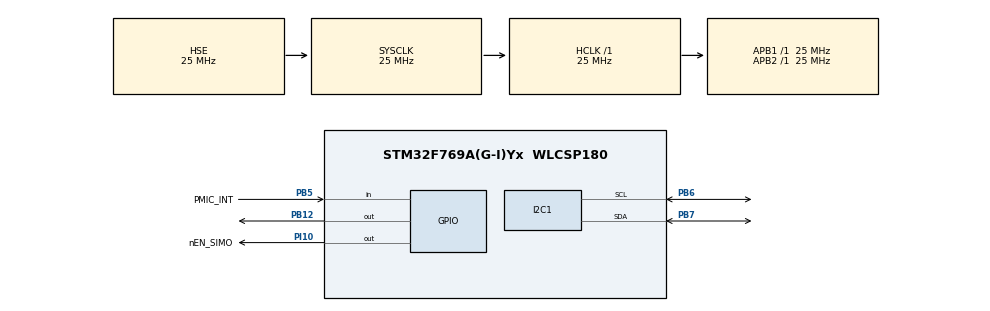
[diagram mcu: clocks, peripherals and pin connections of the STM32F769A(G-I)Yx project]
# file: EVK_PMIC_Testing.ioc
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I2C1.Timing=0x00606092
Mcu.Family=STM32F7
Mcu.Name=STM32F769A(G-I)Yx
Mcu.Package=WLCSP180
NVIC.PriorityGroup=NVIC_PRIORITYGROUP_4
NVIC.TIM8_TRG_COM_TIM14_IRQn=true\:0\:0\:false\:false\:true\:true\:true\:true
PB12.Signal=GPIO_Output
PB5.GPIO_Label=PMIC_INT
PB5.Signal=GPIO_Input
PB6.GPIO_Pu=GPIO_PULLUP
PB6.Mode=I2C
PB6.Signal=I2C1_SCL
PB7.GPIO_Pu=GPIO_PULLUP
PB7.Mode=I2C
PB7.Signal=I2C1_SDA
PH0/OSC_IN.Mode=HSE-External-Oscillator
PH0/OSC_IN.Signal=RCC_OSC_IN
PH1/OSC_OUT.Mode=HSE-External-Oscillator
PH1/OSC_OUT.Signal=RCC_OSC_OUT
PI10.GPIO_Label=nEN_SIMO
PI10.Signal=GPIO_Output
ProjectManager.HeapSize=0x200
ProjectManager.StackSize=0x400
ProjectManager.TargetToolchain=STM32CubeIDE
RCC.AHBFreq_Value=25000000
RCC.APB1Freq_Value=25000000
RCC.APB1TimFreq_Value=25000000
RCC.APB2Freq_Value=25000000
RCC.APB2TimFreq_Value=25000000
RCC.CortexFreq_Value=25000000
RCC.HCLKFreq_Value=25000000
RCC.HSE_VALUE=25000000
RCC.HSI_VALUE=16000000
RCC.LSE_VALUE=32768
RCC.PLLM=2
RCC.PLLSourceVirtual=RCC_PLLSOURCE_HSE
RCC.SYSCLKFreq_VALUE=25000000
RCC.SYSCLKSource=RCC_SYSCLKSOURCE_HSE
RCC.USBFreq_Value=1200000000
RCC.VCOOutputFreq_Value=2400000000
TIM14.AutoReloadPreload=TIM_AUTORELOAD_PRELOAD_ENABLE
TIM14.Period=100-1
TIM14.Prescaler=25000-1
VP_TIM14_VS_ClockSourceINT.Mode=Enable_Timer
board=custom

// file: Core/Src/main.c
/* USER CODE BEGIN Header */
/**
  ******************************************************************************
  * @file           : main.c
  * @brief          : Main program body
  ******************************************************************************
  * @attention
  *
  * Copyright (c) 2022 STMicroelectronics.
  * All rights reserved.
  *
  * This software is licensed under terms that can be found in the LICENSE file
  * in the root directory of this software component.
  * If no LICENSE file comes with this software, it is provided AS-IS.
  *
  ******************************************************************************
  */
/* USER CODE END Header */
#include "main.h"
#include "i2c.h"
#include "tim.h"
#include "gpio.h"

/* USER CODE BEGIN PM */
enum SIMO_Register_Addresses {
							 CID = 0x14, SBB1_A = 0x2B, SBB1_B = 0x2C,
						 	 SBB2_A = 0x2D, SBB2_B = 0x2E, SBB_TOP = 0x2F,
							 LDO0_A = 0x38, LDO0_B = 0x39, LDO1_A = 0x3A,
							 LDO1_B = 0x3B
							 };

enum Charger_Register_Addresses {
								CHG_B = 0x21, CHG_C = 0x22, CHG_D = 0x23,
								CHG_E = 0x24, CHG_G = 0x26, CHG_I = 0x28,
								CHG_STAT_B = 0x03
								};

enum Global_Register_Addresses {
								GLBL = 0x10,
							   };
enum Charger_Status_Values {
							CHG_OK = 0, CHG_DISCON = 1, CHG_ERR = 2, CHG_FULL = 3
						   };
/* USER CODE END PM */

/* USER CODE BEGIN PV */
uint8_t SlaveAddress = 0x48 << 1; //0x90
/* USER CODE END PV */

void SystemClock_Config(void);
/* USER CODE BEGIN PFP */
	uint8_t Check_Chip_ID(uint8_t *Buffer);
	uint8_t Local_I2C_Transmit(uint8_t *Buffer, uint8_t Bytes);
	uint8_t Local_I2C_Receive(uint8_t *Buffer, uint8_t Bytes);
	uint8_t I2C_Scanner(uint8_t *Buffer);
	uint8_t SIMO_SetSBB(uint8_t SBBx_A_Address, uint8_t *Buffer ,uint8_t voltage);
	uint8_t SIMO_PMIC_Init(uint8_t *Buffer);
	uint8_t PMIC_Write_Reg(uint8_t Reg_Address, uint8_t data, uint8_t *Buffer);
	uint8_t PMIC_Read_Reg(uint8_t Reg_Address, uint8_t *Buffer);
	void Charger_Init(uint8_t *Buffer);
	void Global_Config_Init(uint8_t *Buffer);
	uint8_t Check_Charger_Status(uint8_t *Buffer);
	void Suspend_Charger(uint8_t *Buffer);
/* USER CODE END PFP */

/* USER CODE BEGIN 0 */

	/*Charger_Init Function*/
	void Charger_Init(uint8_t *Buffer)
	{
		//setting charger VCHGIN-MIN = 4.7V, ICHGIN-LIM = 475mA, i_PQ = 20%, CHG_EN = enable
		PMIC_Write_Reg(CHG_B, 0xF3, Buffer);
		//setting CHG_PQ(V_PQ) = 2.3V, I_TERM = 10% of IFAST_CHG(300mA), topoff timer 0 min
		PMIC_Write_Reg(CHG_C, 0x10, Buffer);
		//setting die junction temp at 60degree celsius, system regulation voltage(VSYS-REG) = 4.5V
		PMIC_Write_Reg(CHG_D, 0x10, Buffer);
		//setting CHG_CC(I_FAST-CHG) = 300mA, fast charge safety timer is 5hours
		PMIC_Write_Reg(CHG_E, 0x9E, Buffer);
		//setting CHG_CV(V_FAST-CHG) = 4.25V, USBS = not suspended
		PMIC_Write_Reg(CHG_G, 0x68, Buffer);
		//setting battery discharge current full sacle current value = 8.2mA, AMUX = disabled
		PMIC_Write_Reg(CHG_I, 0x00, Buffer);
	}
	/*End*/

	/*Check_Charger_Status Function*
	 @retval 0 - Charger OK and charging
	 	 	 1 - Charger OFf or Disconnected
	 	 	 2 - Charger Connected and enabled but not charging
	 	 	 3 - Charger done state*/
	uint8_t Check_Charger_Status(uint8_t *Buffer)
	{
		uint8_t status, ret;
		status = PMIC_Read_Reg(CHG_STAT_B, Buffer);
		if((status & 0xF0) == 0x80)
			ret = CHG_FULL;
		else if((status & 0xF0) != 0x00)
		{
			if((status & 0x0F) == 0x0E)
				ret  = CHG_OK; //charger debounced and charging OK
			else
				ret = CHG_ERR; //either charger in ULVO || OVP || i/p is being debounced || Charging Not-OK
		}
		else
			ret = CHG_DISCON; //Charger Disconnected or Charger OFF

		return ret;
	}
	/*End*/

	/*Suspend Charger Function*/
	void Suspend_Charger(uint8_t *Buffer)
	{
		//set USBS bit to suspend mode to disconnect charger
		PMIC_Write_Reg(CHG_G, 0x6A, Buffer);
	}
	/*End*/

	/*Global_Config_Init Function*/
	void Global_Config_Init(uint8_t *Buffer)
	{
		//Software Cold reset
		PMIC_Write_Reg(GLBL, 0x01, Buffer);
		//Main Bias force Enable by Software
		PMIC_Write_Reg(GLBL, 0x10, Buffer);
	}
	/*End*/

	/*PMIC_Write_Reg Function*/
	uint8_t PMIC_Write_Reg(uint8_t Reg_Address, uint8_t data, uint8_t *Buffer)
	{
		uint8_t ret;
		Buffer[0] = Reg_Address;
		Buffer[1] = data;
		ret = Local_I2C_Transmit(Buffer, 2);
		return ret;
	}
	/*End*/

	/*PMIC_Read_Reg Function*/
	uint8_t PMIC_Read_Reg(uint8_t Reg_Address, uint8_t *Buffer)
	{
		uint8_t ret;
		Buffer[0] = Reg_Address;
		ret = Local_I2C_Receive(Buffer, 1);
		return ret;
	}
	/*End*/

	/*SIMO_PMIC_Init Function*/
	uint8_t SIMO_PMIC_Init(uint8_t *Buffer)
	{
		uint8_t received;
		/*Initializing SBB Drive strength slower*/
		received = PMIC_Write_Reg(SBB_TOP, 0x02, Buffer);
		return received;
	}
	/*End*/
#if 0
	/*I2C_Scanner Function*/
	uint8_t I2C_Scanner(uint8_t *Buffer)
	{
		uint8_t i,received,ret;
	for(i = 1; i < 200; i++)
	  {
		  received = HAL_I2C_Master_Receive(&hi2c1, i, Buffer, 1, 100);
		  if(received != HAL_OK)
		  {
			  ret = 1;
		  }
		  else
		  {
			  ret = 0;
			  break;
		  }
	  }
	  return ret;

	}
#endif
	/*Local_I2C_Transmit Function
	  @retval - 1 - I2C trasmission error
	  	  	  	transmit_val - returns transmitted value*/
	uint8_t Local_I2C_Transmit(uint8_t *Buffer, uint8_t Bytes)
	{
		uint8_t transmit,ret;
		transmit = HAL_I2C_Master_Transmit(&hi2c1, SlaveAddress, Buffer, Bytes, HAL_MAX_DELAY);
		if(transmit != HAL_OK)
		{
			ret = 1;
		}
		else
		{
			ret = Local_I2C_Receive(Buffer, 1);

		}
		return ret;
	}
	/*END*/

	/*Local_I2C_Receive Function
	  @retval 1 - I2C transmission error
	  	  	  Receive_val[Buffer] - return the recieved value*/
	uint8_t Local_I2C_Receive(uint8_t *Buffer, uint8_t Bytes)
	{
		uint8_t received,ret;
		ret = HAL_I2C_Master_Transmit(&hi2c1, SlaveAddress, Buffer, Bytes, HAL_MAX_DELAY);
		received = HAL_I2C_Master_Receive(&hi2c1, SlaveAddress, Buffer, Bytes, HAL_MAX_DELAY);
		if(received != HAL_OK)
			ret = 1;
		else
		{
			ret = Buffer[0];
		}
		return ret;
	}
	/*END*/

	/*Check_Chip_ID Function
	  @retval 0 - Correct Chip ID
	  	  	  1 - Incorrect Chip ID*/
	uint8_t Check_Chip_ID(uint8_t *Buffer)
	{
		uint8_t ret, Id;
		Id = PMIC_Read_Reg(CID, Buffer);
		Id &= 0x0F;
		if(Id == 0x06)
			ret = 0; //Chip ID is correct
		else
			ret = 1; // Chip ID is Incorrect

		return ret;
	}
	/*End*/

	/*SIMO_SetSBB Function*/
	uint8_t SIMO_SetSBB(uint8_t SBBx_A_Address, uint8_t *Buffer ,uint8_t voltage)
	{
		uint8_t val;
			//SBB_A_Address + 1 = SBB_B_Address
			//Buck Mode, 333mA current, active discharge enabled, enabled irrespective of FPS
			val = PMIC_Write_Reg(SBBx_A_Address + 1, 0x7F, Buffer);
			if(val != 0x7F)
				return 1; //i2c transmission error
			//SBB_A_Address
			//voltage to set at SBBx
			val = PMIC_Write_Reg(SBBx_A_Address, voltage, Buffer);
			if(val != voltage)
				return 1; //i2c transmission error
			else
			{
				//ReadBack_SIMO(val);
				return 0; //OK
			}
	}

	uint8_t SIMO_SetLDO(uint8_t LDOx_A_Address, uint8_t *Buffer ,uint8_t voltage)
		{
			uint8_t val;
				//LDO_A_Address + 1 = LDO_B_Address
				//Buck Mode, 333mA current, active discharge enabled, enabled irrespective of FPS
				val = PMIC_Write_Reg(LDOx_A_Address + 1, 0x0E, Buffer);
				if(val != 0x0E)
					return 1; //i2c transmission error
				//LDO_A_Address
				//voltage to set at LDOxx
				val = PMIC_Write_Reg(LDOx_A_Address, voltage, Buffer);
				if(val != voltage)
					return 1; //i2c transmission error
				else
				{
					//ReadBack_SIMO(val);
					return 0; //OK
				}
		}
	/*End*/
/* USER CODE END 0 */

int main(void)
{

  /* MCU Configuration--------------------------------------------------------*/

  /* Reset of all peripherals, Initializes the Flash interface and the Systick. */
  HAL_Init();

  /* Configure the system clock */
  SystemClock_Config();

  /* Initialize all configured peripherals */
  MX_GPIO_Init();
  MX_I2C1_Init();
  MX_TIM14_Init();
  /* USER CODE BEGIN 2 */
  uint8_t Buffer[20] = {0};

  HAL_GPIO_WritePin(GPIOI, GPIO_PIN_10, GPIO_PIN_SET); //set nEN pin to HIGH

  if(Check_Chip_ID(Buffer)) //check the chip id of max77654 pmic which should be 0xX6
	 Error_Handler();
  else
  {
  Global_Config_Init(Buffer); //software cold reset and main bias enable by software

  SIMO_PMIC_Init(Buffer);

  Charger_Init(Buffer); //configured charger for fast charging

  SIMO_SetSBB(SBB1_A, Buffer, 0x08);
  SIMO_SetSBB(SBB2_A, Buffer, 0x32);

  SIMO_SetLDO(LDO0_A, Buffer, 0x28);
  SIMO_SetLDO(LDO1_A, Buffer, 0x44);

  HAL_TIM_Base_Start_IT(&htim14);
  }
  /* USER CODE END 2 */

  /* Infinite loop */
  while (1)
  {

  }
}

void SystemClock_Config(void)
{
  RCC_OscInitTypeDef RCC_OscInitStruct = {0};
  RCC_ClkInitTypeDef RCC_ClkInitStruct = {0};

  /** Configure the main internal regulator output voltage
  */
  __HAL_RCC_PWR_CLK_ENABLE();
  __HAL_PWR_VOLTAGESCALING_CONFIG(PWR_REGULATOR_VOLTAGE_SCALE3);

  /** Initializes the RCC Oscillators according to the specified parameters
  * in the RCC_OscInitTypeDef structure.
  */
  RCC_OscInitStruct.OscillatorType = RCC_OSCILLATORTYPE_HSE;
  RCC_OscInitStruct.HSEState = RCC_HSE_ON;
  RCC_OscInitStruct.PLL.PLLState = RCC_PLL_NONE;
  if (HAL_RCC_OscConfig(&RCC_OscInitStruct) != HAL_OK)
  {
    Error_Handler();
  }

  /** Initializes the CPU, AHB and APB buses clocks
  */
  RCC_ClkInitStruct.ClockType = RCC_CLOCKTYPE_HCLK|RCC_CLOCKTYPE_SYSCLK
                              |RCC_CLOCKTYPE_PCLK1|RCC_CLOCKTYPE_PCLK2;
  RCC_ClkInitStruct.SYSCLKSource = RCC_SYSCLKSOURCE_HSE;
  RCC_ClkInitStruct.AHBCLKDivider = RCC_SYSCLK_DIV1;
  RCC_ClkInitStruct.APB1CLKDivider = RCC_HCLK_DIV1;
  RCC_ClkInitStruct.APB2CLKDivider = RCC_HCLK_DIV1;

  if (HAL_RCC_ClockConfig(&RCC_ClkInitStruct, FLASH_LATENCY_0) != HAL_OK)
  {
    Error_Handler();
  }
}

/* USER CODE BEGIN 4 */

void HAL_TIM_PeriodElapsedCallback(TIM_HandleTypeDef *htim)
 {
	  uint8_t Buffer[30] = {0};
	  if(htim == &htim14)
	  {
		  switch(Check_Charger_Status(Buffer))
		  {
		  	  case CHG_OK:
		  		  HAL_GPIO_TogglePin(GPIOB, GPIO_PIN_12); //set LED1 HIGH
		  		  break;
		  	  case CHG_DISCON:
				  HAL_GPIO_WritePin(GPIOB, GPIO_PIN_12, GPIO_PIN_RESET); //set LED1 LOW
				  break;
		  	  case CHG_ERR:
		  		  Error_Handler();
		  		  break;
		  	  case CHG_FULL:
		  		  Suspend_Charger(Buffer);
				  HAL_GPIO_WritePin(GPIOB, GPIO_PIN_12, GPIO_PIN_SET); //set LED1 HIGH
				  break;
		  	  default:
		  		  break;
		  }
	  }
	 // Check_TIM_Delay();
 }

/* USER CODE END 4 */

void Error_Handler(void)
{
  __disable_irq();
  while (1)
  {
  }
}
